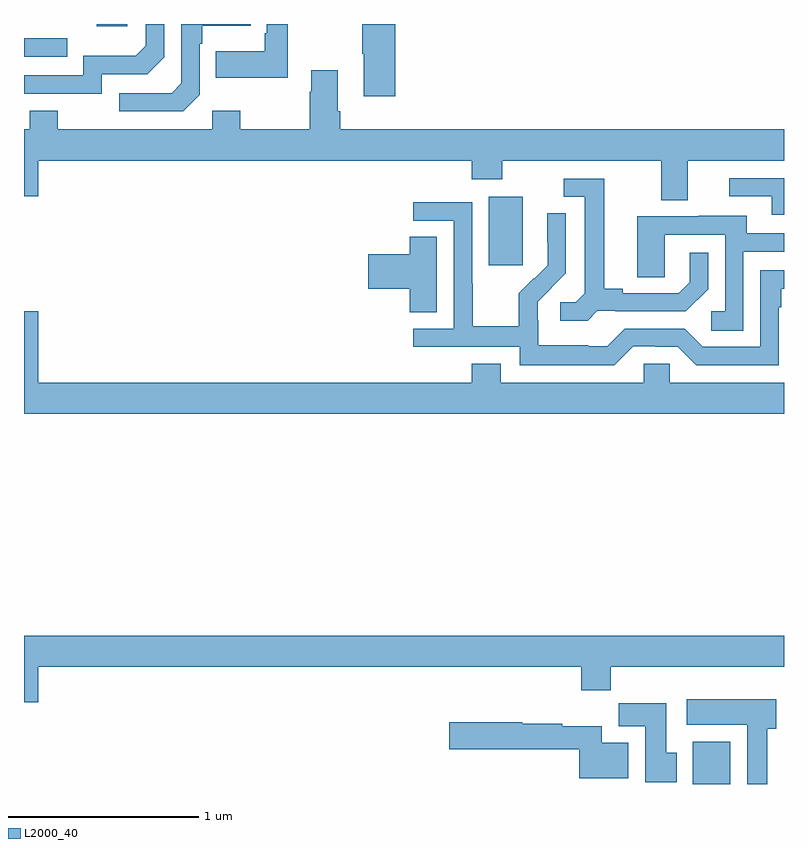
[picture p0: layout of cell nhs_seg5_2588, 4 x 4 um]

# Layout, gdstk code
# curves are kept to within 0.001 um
import gdstk
lib = gdstk.Library(unit=1e-6, precision=1e-09)
def R(c, l, rs):  # rectangles x0, y0, x1, y1
    for r in rs: c.add(gdstk.rectangle(r[:2], r[2:], *l))
def P(c, l, *ps):  # polygons
    for p in ps: c.add(gdstk.Polygon(p, *l))
L2000_40 = (2000, 40)

nhs_seg5_2588 = lib.new_cell('nhs_seg5_2588')
R(nhs_seg5_2588, L2000_40, [(264.521,866.799,264.718,867.022), (263.447,869.529,263.626,869.89), (261,870.627,261.227,870.723), (261.383,870.788,261.544,870.799)])
P(nhs_seg5_2588, L2000_40, [(261.408,870.534),(261.648,870.534),(261.738,870.624),(261.738,870.799),(261.642,870.799),(261.642,870.684),(261.589,870.631),(261.312,870.631),(261.312,870.528),(261,870.528),(261,870.432),(261.408,870.432)],
  [(262.955,870.799),(262.78,870.799),(262.78,870.643),(262.787,870.643),(262.787,870.42),(262.955,870.42)],
  [(262.387,870.799),(262.278,870.799),(262.278,870.751),(262.266,870.751),(262.266,870.655),(262.009,870.655),(262.009,870.515),(262.387,870.515)],
  [(261.924,870.426),(261.924,870.695),(261.937,870.695),(261.937,870.791),(262.193,870.791),(262.193,870.799),(261.828,870.799),(261.828,870.486),(261.777,870.435),(261.501,870.435),(261.501,870.339),(261.837,870.339)],
  [(264.493,870.08),(265,870.08),(265,870.244),(262.664,870.244),(262.664,870.34),(262.651,870.34),(262.651,870.556),(262.511,870.556),(262.511,870.443),(262.504,870.443),(262.504,870.244),(262.137,870.244),(262.137,870.343),(261.99,870.343),(261.99,870.244),(261.177,870.244),(261.177,870.343),(261.029,870.343),(261.029,870.244),(261,870.244),(261,869.892),(261.076,869.892),(261.076,870.08),(263.357,870.08),(263.357,869.981),(263.517,869.981),(263.517,870.08),(264.353,870.08),(264.353,869.872),(264.493,869.872)],
  [(265,869.988),(264.711,869.988),(264.711,869.892),(264.935,869.892),(264.935,869.796),(265,869.796)],
  [(264.018,869.289),(264.112,869.289),(264.112,869.286),(264.484,869.286),(264.6,869.402),(264.6,869.596),(264.503,869.596),(264.503,869.439),(264.446,869.382),(264.151,869.382),(264.151,869.405),(264.055,869.405),(264.055,869.985),(263.841,869.985),(263.841,869.889),(263.951,869.889),(263.951,869.381),(263.904,869.334),(263.823,869.334),(263.823,869.237),(263.966,869.237)],
  [(264.207,869.103),(264.323,869.103),(264.323,869.1),(264.441,869.1),(264.537,869.004),(264.972,869.004),(264.972,869.309),(264.985,869.309),(264.985,869.406),(265,869.406),(265,869.502),(264.876,869.502),(264.876,869.1),(264.573,869.1),(264.477,869.196),(264.162,869.196),(264.069,869.103),(263.969,869.103),(263.969,869.107),(263.706,869.107),(263.706,869.241),(263.704,869.241),(263.704,869.338),(263.85,869.486),(263.85,869.804),(263.754,869.804),(263.754,869.65),(263.756,869.65),(263.756,869.528),(263.685,869.457),(263.682,869.46),(263.605,869.383),(263.605,869.209),(263.361,869.209),(263.361,869.432),(263.358,869.432),(263.358,869.862),(263.049,869.862),(263.049,869.763),(263.262,869.763),(263.262,869.196),(263.049,869.196),(263.049,869.1),(263.61,869.1),(263.61,869.003),(264.107,869.003)],
  [(264.786,869.601),(265,869.601),(265,869.697),(264.805,869.697),(264.805,869.791),(264.551,869.791),(264.551,869.787),(264.227,869.787),(264.227,869.467),(264.372,869.467),(264.372,869.691),(264.69,869.691),(264.69,869.286),(264.618,869.286),(264.618,869.185),(264.786,869.185)],
  [(263.173,869.678),(263.03,869.678),(263.03,869.588),(262.812,869.588),(262.812,869.405),(263.03,869.405),(263.03,869.281),(263.173,869.281)],
  [(265,868.912),(264.399,868.912),(264.399,869.01),(264.261,869.01),(264.261,868.912),(263.509,868.912),(263.509,869.011),(263.357,869.011),(263.357,868.912),(261.076,868.912),(261.076,869.287),(261,869.287),(261,868.748),(265,868.748)],
  [(261.076,867.416),(263.933,867.416),(263.933,867.292),(264.089,867.292),(264.089,867.416),(265,867.416),(265,867.58),(261,867.58),(261,867.228),(261.076,867.228)],
  [(264.913,867.09),(264.958,867.09),(264.958,867.244),(264.489,867.244),(264.489,867.11),(264.806,867.11),(264.806,866.799),(264.913,866.799)],
  [(264.436,866.964),(264.379,866.964),(264.379,867.223),(264.13,867.223),(264.13,867.104),(264.269,867.104),(264.269,866.808),(264.436,866.808)],
  [(264.181,867.016),(264.04,867.016),(264.04,867.104),(263.834,867.104),(263.834,867.115),(263.622,867.115),(263.622,867.123),(263.238,867.123),(263.238,866.981),(263.923,866.981),(263.923,866.828),(264.181,866.828)])

lib.write_gds('nhs_seg5_2588.gds')
